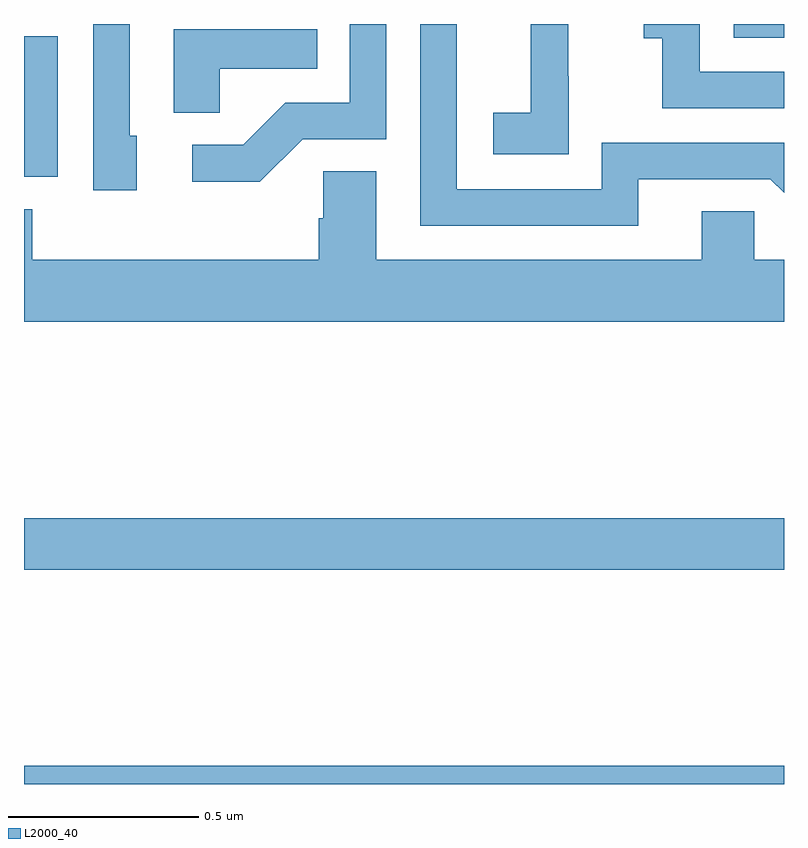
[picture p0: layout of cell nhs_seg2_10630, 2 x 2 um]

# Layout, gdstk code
import gdstk
lib = gdstk.Library(unit=1e-6, precision=1e-09)
def R(c, l, rs):  # rectangles x0, y0, x1, y1
    for r in rs: c.add(gdstk.rectangle(r[:2], r[2:], *l))
def P(c, l, *ps):  # polygons
    for p in ps: c.add(gdstk.Polygon(p, *l))
L2000_40 = (2000, 40)

nhs_seg2_10630 = lib.new_cell('nhs_seg2_10630')
R(nhs_seg2_10630, L2000_40, [(244,599.8,246,599.848), (244,600.364,246,600.5), (244,601.398,244.089,601.768), (245.868,601.764,246,601.8)])
P(nhs_seg2_10630, L2000_40, [(245.433,601.663),(245.432,601.663),(245.432,601.8),(245.334,601.8),(245.334,601.796),(245.333,601.796),(245.333,601.567),(245.235,601.567),(245.235,601.457),(245.433,601.457)],
  [(244.734,601.497),(244.953,601.497),(244.953,601.8),(244.857,601.8),(244.857,601.593),(244.688,601.593),(244.577,601.482),(244.443,601.482),(244.443,601.385),(244.621,601.385)],
  [(246,601.674),(245.778,601.674),(245.778,601.8),(245.631,601.8),(245.631,601.763),(245.68,601.763),(245.68,601.578),(246,601.578)],
  [(244.297,601.506),(244.278,601.506),(244.278,601.8),(244.182,601.8),(244.182,601.362),(244.297,601.362)],
  [(245.617,601.392),(245.964,601.392),(246,601.356),(246,601.488),(245.52,601.488),(245.52,601.365),(245.139,601.365),(245.139,601.8),(245.043,601.8),(245.043,601.269),(245.617,601.269)],
  [(244.515,601.682),(244.772,601.682),(244.772,601.786),(244.394,601.786),(244.394,601.567),(244.515,601.567)],
  [(246,601.18),(245.922,601.18),(245.922,601.307),(245.783,601.307),(245.783,601.18),(244.927,601.18),(244.927,601.412),(244.788,601.412),(244.788,601.289),(244.775,601.289),(244.775,601.18),(244.022,601.18),(244.022,601.313),(244,601.313),(244,601.016),(246,601.016)])

lib.write_gds('nhs_seg2_10630.gds')
